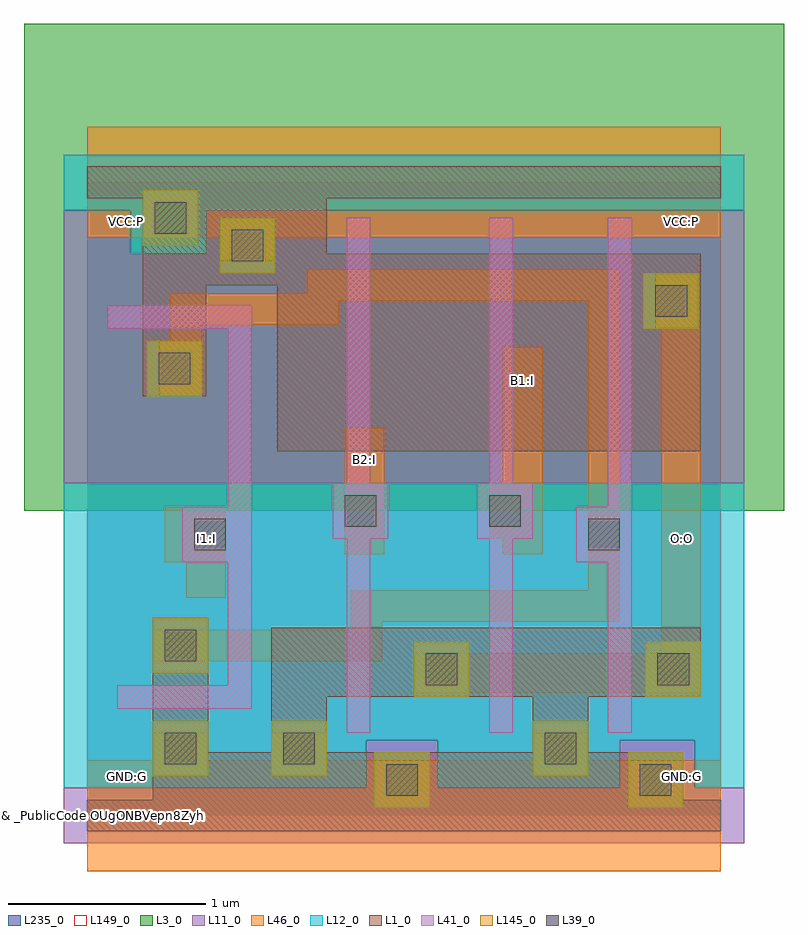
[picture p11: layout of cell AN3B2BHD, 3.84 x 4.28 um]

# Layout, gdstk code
from math import pi, radians
import gdstk
lib = gdstk.Library(unit=1e-6, precision=1e-09)
def R(c, l, rs):  # rectangles x0, y0, x1, y1
    for r in rs: c.add(gdstk.rectangle(r[:2], r[2:], *l))
def P(c, l, *ps):  # polygons
    for p in ps: c.add(gdstk.Polygon(p, *l))
L1_0 = (1, 0)
L3_0 = (3, 0)
L11_0 = (11, 0)
L12_0 = (12, 0)
L39_0 = (39, 0)
L41_0 = (41, 0)
L46_0 = (46, 0)
L145_0 = (145, 0)
L149_0 = (149, 0)
L235_0 = (235, 0)

c_pc = lib.new_cell('PC')
R(c_pc, L39_0, [(-0.08,-0.08,0.08,0.08)])
R(c_pc, L41_0, [(-0.14,-0.14,0.14,0.14)])
R(c_pc, L46_0, [(-0.08,-0.14,0.08,0.14)])

c_mc = lib.new_cell('MC')
R(c_mc, L39_0, [(-0.08,-0.08,0.08,0.08)])
R(c_mc, L46_0, [(-0.08,-0.14,0.08,0.14)])
R(c_mc, L145_0, [(-0.14,-0.14,0.14,0.14)])

khlenmakjcb__41gum4xw0 = lib.new_cell('KHLENMAKJCB$$41Gum4XW0')
R(khlenmakjcb__41gum4xw0, L1_0, [(0,-0.08,3.2,0.08), (0.33,0.08,0.61,1), (0.61,0.08,3.01,0.32), (2.53,0.6,3.1,0.95), (0,3.12,3.2,3.28)])
P(khlenmakjcb__41gum4xw0, L1_0, [(0.96,3.12),(0.28,3.12),(0.28,2.12),(0.6,2.12),(0.6,2.68),(0.96,2.68)],
  [(2.53,0.95),(0.93,0.95),(0.93,0.32),(1.21,0.32),(1.21,0.6),(2.25,0.6),(2.25,0.32),(2.53,0.32)],
  [(3.1,2.84),(1.21,2.84),(1.21,3.12),(0.96,3.12),(0.96,1.84),(3.1,1.84)])
R(khlenmakjcb__41gum4xw0, L3_0, [(-0.32,1.54,3.52,4)])
R(khlenmakjcb__41gum4xw0, L11_0, [(-0.12,-0.14,3.32,0.14), (-0.12,-0.14,3.32,0.14), (-0.12,-0.14,3.32,0.14), (1.41,0.14,1.77,0.38), (2.69,0.14,3.07,0.38)])
P(khlenmakjcb__41gum4xw0, L11_0, [(3.32,3.06),(0.6,3.06),(0.6,2.84),(0.22,2.84),(0.22,3.06),(-0.12,3.06),(-0.12,1.68),(3.32,1.68)])
P(khlenmakjcb__41gum4xw0, L12_0, [(3.32,3.34),(-0.12,3.34),(-0.12,3.06),(0.22,3.06),(0.22,2.84),(0.6,2.84),(0.6,3.06),(3.32,3.06)],
  [(3.32,1.68),(-0.12,1.68),(-0.12,0.14),(1.41,0.14),(1.41,0.38),(1.77,0.38),(1.77,0.14),(2.69,0.14),(2.69,0.38),(3.07,0.38),(3.07,0.14),(3.32,0.14)])
R(khlenmakjcb__41gum4xw0, L46_0, [(0.39,1.28,0.7,1.56)])
R(khlenmakjcb__41gum4xw0, L149_0, [(0,0,3.2,3.2)])
R(khlenmakjcb__41gum4xw0, L235_0, [(0,0,3.2,3.2), (0,0,3.2,3.2), (0,0,3.2,3.2), (0,0,3.2,3.2), (0,0,3.2,3.2), (0,0,3.2,3.2), (0,0,3.2,3.2), (0,0,3.2,3.2), (0,0,3.2,3.2), (0,0,3.2,3.2), (0,0,3.2,3.2), (0,0,3.2,3.2)])
khlenmakjcb__41gum4xw0.add(gdstk.FlexPath([(0,0),(3.2,0)], 0.56, ends="flush", simple_path=True, layer=46, datatype=0))  # L46_0
khlenmakjcb__41gum4xw0.add(gdstk.FlexPath([(0,3.2),(3.2,3.2)], 0.56, ends="flush", simple_path=True, layer=46, datatype=0))  # L46_0
khlenmakjcb__41gum4xw0.add(gdstk.FlexPath([(0.6,1.1),(0.6,1.56)], 0.2, ends="flush", simple_path=True, layer=46, datatype=0))  # L46_0
khlenmakjcb__41gum4xw0.add(gdstk.FlexPath([(2.2,1.32),(2.2,2.37)], 0.2, ends="flush", simple_path=True, layer=46, datatype=0))  # L46_0
khlenmakjcb__41gum4xw0.add(gdstk.FlexPath([(0.5,2.12),(0.5,2.56),(1.19,2.56),(1.19,2.68),(2.61,2.68),(2.61,1.06),(1.41,1.06),(1.41,0.86),(0.33,0.86)], 0.16, ends="flush", simple_path=True, layer=46, datatype=0))  # L46_0
khlenmakjcb__41gum4xw0.add(gdstk.FlexPath([(1.4,1.32),(1.4,1.96)], 0.2, ends="flush", simple_path=True, layer=46, datatype=0))  # L46_0
khlenmakjcb__41gum4xw0.add(gdstk.FlexPath([(3,2.74),(3,0.72),(1.65,0.72)], 0.2, ends="flush", simple_path=True, layer=46, datatype=0))  # L46_0
khlenmakjcb__41gum4xw0.add(gdstk.FlexPath([(0.6,0),(0.6,3.2)], 0, ends="flush", simple_path=True, layer=145, datatype=0))  # L145_0
khlenmakjcb__41gum4xw0.add(gdstk.FlexPath([(1,0),(1,3.2)], 0, ends="flush", simple_path=True, layer=145, datatype=0))  # L145_0
khlenmakjcb__41gum4xw0.add(gdstk.FlexPath([(1.4,0),(1.4,3.2)], 0, ends="flush", simple_path=True, layer=145, datatype=0))  # L145_0
khlenmakjcb__41gum4xw0.add(gdstk.FlexPath([(1.8,0),(1.8,3.2)], 0, ends="flush", simple_path=True, layer=145, datatype=0))  # L145_0
khlenmakjcb__41gum4xw0.add(gdstk.FlexPath([(2.2,0),(2.2,3.2)], 0, ends="flush", simple_path=True, layer=145, datatype=0))  # L145_0
khlenmakjcb__41gum4xw0.add(gdstk.FlexPath([(2.6,0),(2.6,3.2)], 0, ends="flush", simple_path=True, layer=145, datatype=0))  # L145_0
khlenmakjcb__41gum4xw0.add(gdstk.FlexPath([(3,0),(3,3.2)], 0, ends="flush", simple_path=True, layer=145, datatype=0))  # L145_0
khlenmakjcb__41gum4xw0.add(gdstk.FlexPath([(0,0.2),(3.2,0.2)], 0, ends="flush", simple_path=True, layer=145, datatype=0))  # L145_0
khlenmakjcb__41gum4xw0.add(gdstk.FlexPath([(0,0.6),(3.2,0.6)], 0, ends="flush", simple_path=True, layer=145, datatype=0))  # L145_0
khlenmakjcb__41gum4xw0.add(gdstk.FlexPath([(0,1),(3.2,1)], 0, ends="flush", simple_path=True, layer=145, datatype=0))  # L145_0
khlenmakjcb__41gum4xw0.add(gdstk.FlexPath([(0,1.4),(3.2,1.4)], 0, ends="flush", simple_path=True, layer=145, datatype=0))  # L145_0
khlenmakjcb__41gum4xw0.add(gdstk.FlexPath([(0,1.8),(3.2,1.8)], 0, ends="flush", simple_path=True, layer=145, datatype=0))  # L145_0
khlenmakjcb__41gum4xw0.add(gdstk.FlexPath([(0,2.2),(3.2,2.2)], 0, ends="flush", simple_path=True, layer=145, datatype=0))  # L145_0
khlenmakjcb__41gum4xw0.add(gdstk.FlexPath([(0,2.6),(3.2,2.6)], 0, ends="flush", simple_path=True, layer=145, datatype=0))  # L145_0
khlenmakjcb__41gum4xw0.add(gdstk.FlexPath([(0,3),(3.2,3)], 0, ends="flush", simple_path=True, layer=145, datatype=0))  # L145_0
khlenmakjcb__41gum4xw0.add(gdstk.FlexPath([(0.2,0),(0.2,3.2)], 0, ends="flush", simple_path=True, layer=145, datatype=0))  # L145_0
khlenmakjcb__41gum4xw0.add(gdstk.FlexPath([(2.09,0.42),(2.09,3.02)], 0.12, ends="flush", simple_path=True, layer=41, datatype=0))  # L41_0
khlenmakjcb__41gum4xw0.add(gdstk.FlexPath([(0.1,2.52),(0.77,2.52),(0.77,0.6),(0.15,0.6)], 0.12, ends="flush", simple_path=True, layer=41, datatype=0))  # L41_0
khlenmakjcb__41gum4xw0.add(gdstk.FlexPath([(1.37,0.42),(1.37,3.02)], 0.12, ends="flush", simple_path=True, layer=41, datatype=0))  # L41_0
khlenmakjcb__41gum4xw0.add(gdstk.FlexPath([(2.69,0.42),(2.69,3.02)], 0.12, ends="flush", simple_path=True, layer=41, datatype=0))  # L41_0
r = gdstk.Reference(c_pc, (1.38,1.54)); r.repetition = gdstk.Repetition(1, 1, v1=(0.28,0), v2=(0,0.32)); khlenmakjcb__41gum4xw0.add(r)
r = gdstk.Reference(c_pc, (0.62,1.42)); r.repetition = gdstk.Repetition(1, 1, v1=(0.28,0), v2=(0,0.32)); khlenmakjcb__41gum4xw0.add(r)
r = gdstk.Reference(c_pc, (2.61,1.42)); r.repetition = gdstk.Repetition(1, 1, v1=(0.28,0), v2=(0,0.32)); khlenmakjcb__41gum4xw0.add(r)
r = gdstk.Reference(c_pc, (2.11,1.54)); r.repetition = gdstk.Repetition(1, 1, v1=(0.28,0), v2=(0,0.32)); khlenmakjcb__41gum4xw0.add(r)
r = gdstk.Reference(c_mc, (0.81,2.88), rotation=pi/2); r.repetition = gdstk.Repetition(1, 1, v1=(0,0.28), v2=(-0.32,0)); khlenmakjcb__41gum4xw0.add(r)
r = gdstk.Reference(c_mc, (1.59,0.18), rotation=pi/2); r.repetition = gdstk.Repetition(1, 1, v1=(0,0.28), v2=(-0.32,0)); khlenmakjcb__41gum4xw0.add(r)
r = gdstk.Reference(c_mc, (1.79,0.74), rotation=pi/2); r.repetition = gdstk.Repetition(1, 1, v1=(0,0.28), v2=(-0.32,0)); khlenmakjcb__41gum4xw0.add(r)
r = gdstk.Reference(c_mc, (0.42,3.02), rotation=pi/2, x_reflection=True); r.repetition = gdstk.Repetition(1, 1, v1=(0,0.28), v2=(0.32,0)); khlenmakjcb__41gum4xw0.add(r)
r = gdstk.Reference(c_mc, (1.07,0.34), rotation=pi/2); r.repetition = gdstk.Repetition(1, 1, v1=(0,0.28), v2=(-0.32,0)); khlenmakjcb__41gum4xw0.add(r)
r = gdstk.Reference(c_mc, (2.96,0.74), rotation=pi/2); r.repetition = gdstk.Repetition(1, 1, v1=(0,0.28), v2=(-0.32,0)); khlenmakjcb__41gum4xw0.add(r)
r = gdstk.Reference(c_mc, (2.39,0.34), rotation=pi/2); r.repetition = gdstk.Repetition(1, 1, v1=(0,0.28), v2=(-0.32,0)); khlenmakjcb__41gum4xw0.add(r)
r = gdstk.Reference(c_mc, (2.87,0.18), rotation=pi/2); r.repetition = gdstk.Repetition(1, 1, v1=(0,0.28), v2=(-0.32,0)); khlenmakjcb__41gum4xw0.add(r)
r = gdstk.Reference(c_mc, (0.47,0.34), rotation=pi/2); r.repetition = gdstk.Repetition(1, 1, v1=(0,0.28), v2=(-0.32,0)); khlenmakjcb__41gum4xw0.add(r)
r = gdstk.Reference(c_mc, (0.44,2.26)); r.repetition = gdstk.Repetition(1, 1, v1=(0.28,0), v2=(0,0.32)); khlenmakjcb__41gum4xw0.add(r)
r = gdstk.Reference(c_mc, (0.47,0.86), rotation=pi/2); r.repetition = gdstk.Repetition(1, 1, v1=(0,0.28), v2=(-0.32,0)); khlenmakjcb__41gum4xw0.add(r)
r = gdstk.Reference(c_mc, (2.95,2.6)); r.repetition = gdstk.Repetition(1, 1, v1=(0.28,0), v2=(0,0.32)); khlenmakjcb__41gum4xw0.add(r)
khlenmakjcb__41gum4xw0.add(gdstk.Label('#Id:7JQJaQKD4XF6RXVVWbbFNLABMd92ZLCaK99JL0406AKC574D4A3EOSP8MXXWHY99T6WBH22210RAL9', (0.02,0.02), layer=147, texttype=0))
khlenmakjcb__41gum4xw0.add(gdstk.Label('AN3B2BHD', (0,0), layer=144, texttype=0))
khlenmakjcb__41gum4xw0.add(gdstk.Label('VCC:P', (0.2,3), layer=101, texttype=0))
khlenmakjcb__41gum4xw0.add(gdstk.Label('VCC:P', (3,3), layer=101, texttype=0))
khlenmakjcb__41gum4xw0.add(gdstk.Label('GND:G', (0.2,0.2), layer=101, texttype=0))
khlenmakjcb__41gum4xw0.add(gdstk.Label('GND:G', (3,0.2), layer=101, texttype=0))
khlenmakjcb__41gum4xw0.add(gdstk.Label('I1:I', (0.6,1.4), layer=101, texttype=0))
khlenmakjcb__41gum4xw0.add(gdstk.Label('O:O', (3,1.4), layer=101, texttype=0))
khlenmakjcb__41gum4xw0.add(gdstk.Label('B2:I', (1.4,1.8), layer=101, texttype=0))
khlenmakjcb__41gum4xw0.add(gdstk.Label('B1:I', (2.2,2.2), layer=101, texttype=0))

an3b2bhd = lib.new_cell('AN3B2BHD')
R(an3b2bhd, L149_0, [(0,0,3.2,3.2)])
an3b2bhd.add(gdstk.Reference(khlenmakjcb__41gum4xw0, (0,0)))
an3b2bhd.add(gdstk.Label('& _PublicCode OUgONBVepn8Zyhuhb7nzKSFGv0ozQ4p7', (0,0), layer=3, texttype=0))
an3b2bhd.add(gdstk.Label('& Metric 10.24', (0,0), layer=3, texttype=0))
an3b2bhd.add(gdstk.Label('& Version 2009Q1V3.0', (0,0), layer=3, texttype=0))
an3b2bhd.add(gdstk.Label('& Product FSC0H_D_GENERIC_CORE', (0,0), layer=3, texttype=0))
an3b2bhd.add(gdstk.Label('& Vendor Faraday_Technology_Corp.', (0,0), layer=3, texttype=0))
an3b2bhd.add(gdstk.Label('#Id:7JQJaQKD4XF6RXVVWbbFNLABMd92ZLCaK99JL0406AKC574D4A3EOSP8MXXWHY99T6WBH22210RAL9', (0.02,0.02), layer=147, texttype=0))
an3b2bhd.add(gdstk.Label('AN3B2BHD', (0,0), layer=144, texttype=0))
an3b2bhd.add(gdstk.Label('VCC:P', (0.2,3), layer=101, texttype=0))
an3b2bhd.add(gdstk.Label('VCC:P', (3,3), layer=101, texttype=0))
an3b2bhd.add(gdstk.Label('GND:G', (0.2,0.2), layer=101, texttype=0))
an3b2bhd.add(gdstk.Label('GND:G', (3,0.2), layer=101, texttype=0))
an3b2bhd.add(gdstk.Label('I1:I', (0.6,1.4), layer=101, texttype=0))
an3b2bhd.add(gdstk.Label('O:O', (3,1.4), layer=101, texttype=0))
an3b2bhd.add(gdstk.Label('B2:I', (1.4,1.8), layer=101, texttype=0))
an3b2bhd.add(gdstk.Label('B1:I', (2.2,2.2), layer=101, texttype=0))

lib.write_gds('AN3B2BHD.gds')
